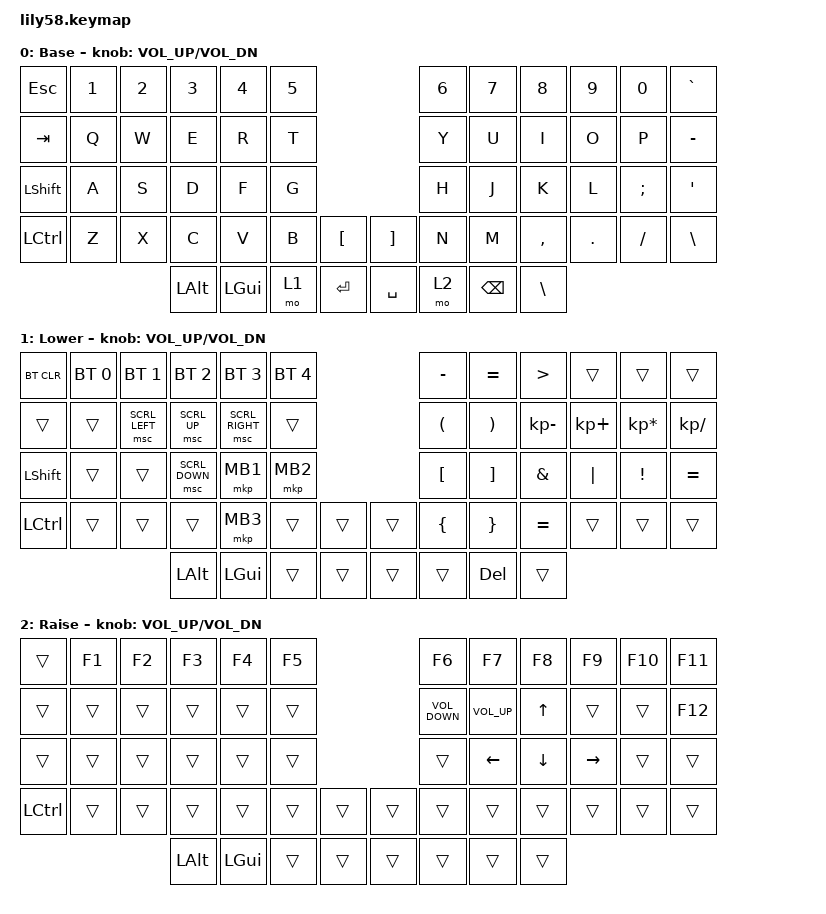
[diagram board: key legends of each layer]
/*
 * Copyright (c) 2020 The ZMK Contributors
 *
 * SPDX-License-Identifier: MIT
 */

#define ZMK_POINTING_DEFAULT_MOVE_VAL 1500  // default: 600
#define ZMK_POINTING_DEFAULT_SCRL_VAL 20    // default: 10

#include <behaviors.dtsi>
#include <dt-bindings/zmk/bt.h>
#include <dt-bindings/zmk/keys.h>
#include <dt-bindings/zmk/pointing.h>

/ {
    keymap {
        compatible = "zmk,keymap";

        default_layer {
            // ------------------------------------------------------------------------------------------------------------
            // |  ESC  |  1  |  2  |  3   |  4   |  5   |                   |  6   |  7    |  8    |  9   |   0   |   `   |
            // |  TAB  |  Q  |  W  |  E   |  R   |  T   |                   |  Y   |  U    |  I    |  O   |   P   |   -   |
            // |  CTRL |  A  |  S  |  D   |  F   |  G   |                   |  H   |  J    |  K    |  L   |   ;   |   '   |
            // | SHIFT |  Z  |  X  |  C   |  V   |  B   |   "["  |  |  "]"  |  N   |  M    |  ,    |  .   |   /   | SHIFT |
            //                     | ALT  | GUI  | LOWER|  SPACE |  | ENTER | RAISE| BSPC  | GUI   |

            display-name = "Base";
            bindings = <
&kp ESC           &kp N1  &kp N2  &kp N3    &kp N4    &kp N5                           &kp N6  &kp N7    &kp N8         &kp N9   &kp N0    &kp GRAVE
&kp TAB           &kp Q   &kp W   &kp E     &kp R     &kp T                            &kp Y   &kp U     &kp I          &kp O    &kp P     &kp MINUS
&kp LSHIFT        &kp A   &kp S   &kp D     &kp F     &kp G                            &kp H   &kp J     &kp K          &kp L    &kp SEMI  &kp SQT
&kp LEFT_CONTROL  &kp Z   &kp X   &kp C     &kp V     &kp B   &kp LBKT      &kp RBKT   &kp N   &kp M     &kp COMMA      &kp DOT  &kp FSLH  &kp BACKSLASH
                                  &kp LALT  &kp LGUI  &mo 1   &kp RETURN    &kp SPACE  &mo 2   &kp BSPC  &kp BACKSLASH
            >;

            sensor-bindings = <&inc_dec_kp C_VOL_UP C_VOL_DN>;
        };

        lower_layer {
            // ------------------------------------------------------------------------------------------------------------
            // | BTCLR | BT1 | BT2 |  BT3 |  BT4 |  BT5 |                   |      |       |       |      |       |       |
            // |  F1   |  F2 |  F3 |  F4  |  F5  |  F6  |                   |  F7  |  F8   |  F9   |  F10 |  F11  |  F12  |
            // |   `   |  !  |  @  |  #   |  $   |  %   |                   |  ^   |  &    |  *    |  (   |   )   |   ~   |
            // |       |     |     |      |      |      |        |  |       |      |  _    |  +    |  {   |   }   |  "|"  |
            //                     |      |      |      |        |  |       |      |       |       |

            display-name = "Lower";
            bindings = <
&bt BT_CLR  &bt BT_SEL 0  &bt BT_SEL 1    &bt BT_SEL 2    &bt BT_SEL 3     &bt BT_SEL 4                    &kp MINUS             &kp EQUAL              &kp GREATER_THAN  &trans       &trans           &trans
&trans      &trans        &msc SCRL_LEFT  &msc SCRL_UP    &msc SCRL_RIGHT  &trans                          &kp LEFT_PARENTHESIS  &kp RIGHT_PARENTHESIS  &kp KP_MINUS      &kp KP_PLUS  &kp KP_MULTIPLY  &kp KP_DIVIDE
&kp LSHIFT  &trans        &trans          &msc SCRL_DOWN  &mkp MB1         &mkp MB2                        &kp LEFT_BRACKET      &kp RIGHT_BRACKET      &kp AMPERSAND     &kp PIPE     &kp EXCLAMATION  &kp EQUAL
&kp LCTRL   &trans        &trans          &trans          &mkp MB3         &trans        &trans    &trans  &kp LEFT_BRACE        &kp RIGHT_BRACE        &kp EQUAL         &trans       &trans           &trans
                                          &kp LEFT_ALT    &kp LEFT_GUI     &trans        &trans    &trans  &trans                &kp DEL                &trans
            >;

            sensor-bindings = <&inc_dec_kp C_VOL_UP C_VOL_DN>;
        };

        raise_layer {
            // ------------------------------------------------------------------------------------------------------------
            // |       |     |     |      |      |      |                   |      |       |       |      |       |       |
            // |   `   |  1  |  2  |  3   |  4   |  5   |                   |  6   |   7   |   8   |  9   |   0   |       |
            // |   F1  |  F2 |  F3 |  F4  |  F5  |  F6  |                   |      |   <-  |   v   |  ^   |  ->   |       |
            // |   F7  |  F8 |  F9 |  F10 |  F11 |  F12 |        |  |       |  +   |   -   |   =   |  [   |   ]   |   \   |
            //                     |      |      |      |        |  |       |      |       |       |

            display-name = "Raise";
            bindings = <
&trans     &kp F1  &kp F2  &kp F3        &kp F4        &kp F5                    &kp F6             &kp F7           &kp F8        &kp F9     &kp F10  &kp F11
&trans     &trans  &trans  &trans        &trans        &trans                    &kp K_VOLUME_DOWN  &kp K_VOLUME_UP  &kp UP_ARROW  &trans     &trans   &kp F12
&trans     &trans  &trans  &trans        &trans        &trans                    &trans             &kp LEFT         &kp DOWN      &kp RIGHT  &trans   &trans
&kp LCTRL  &trans  &trans  &trans        &trans        &trans  &trans    &trans  &trans             &trans           &trans        &trans     &trans   &trans
                           &kp LEFT_ALT  &kp LEFT_GUI  &trans  &trans    &trans  &trans             &trans           &trans
            >;

            sensor-bindings = <&inc_dec_kp C_VOL_UP C_VOL_DN>;
        };

        extra_1 { status = "reserved"; };

        extra_2 { status = "reserved"; };

        extra_3 { status = "reserved"; };
    };
};
